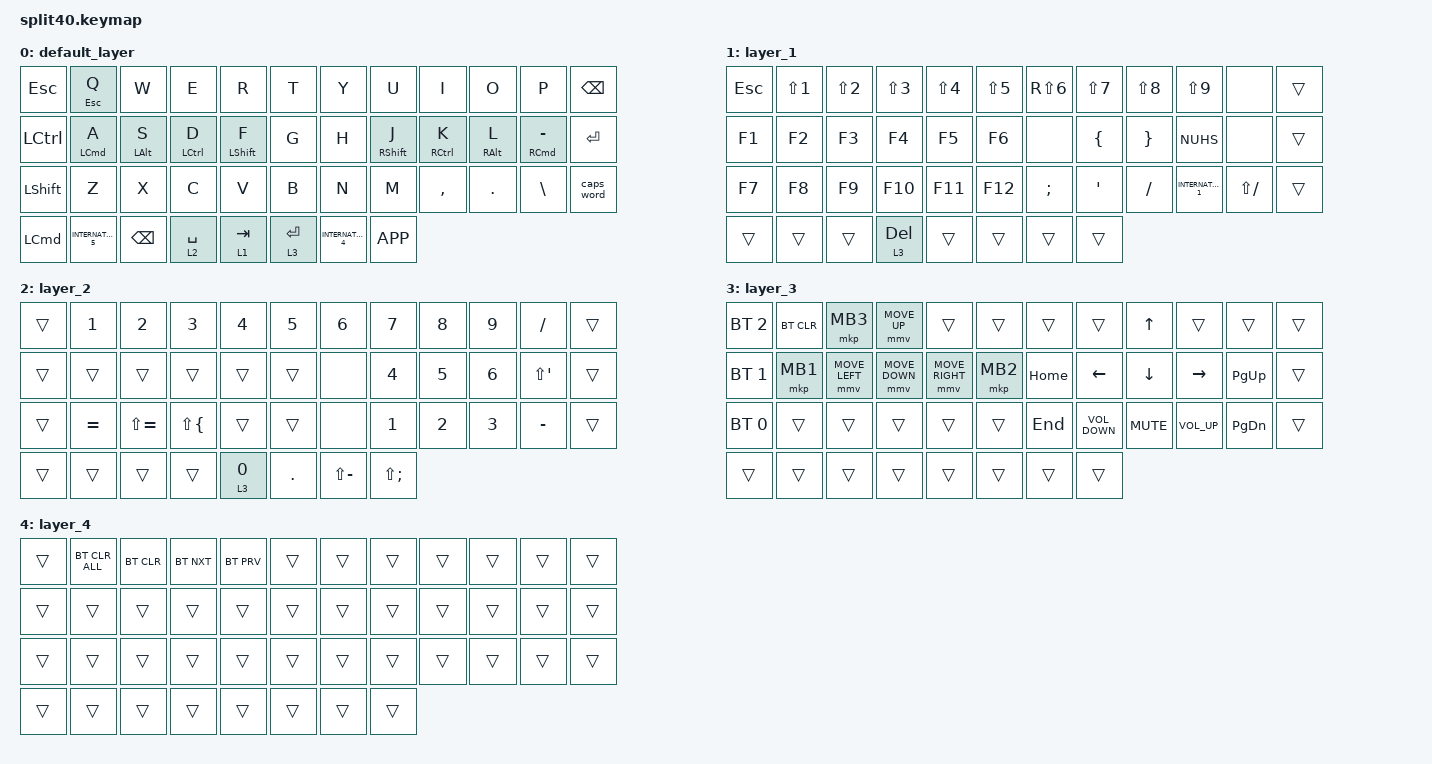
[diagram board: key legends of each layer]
/*
 * Copyright (c) 2022 The ZMK Contributors
 *
 * SPDX-License-Identifier: MIT
 */

#include <behaviors.dtsi>
#include <dt-bindings/zmk/bt.h>
#include <dt-bindings/zmk/keys.h>
#include <dt-bindings/zmk/pointing.h>

/ {
    combos {
        compatible = "zmk,combos";

        fd_combo_mhen {
            bindings = <&kp INTERNATIONAL_5>;
            key-positions = <15 16>;
        };

        jk_combo_henk {
            bindings = <&kp INTERNATIONAL_4>;
            key-positions = <19 20>;
        };
    };

    behaviors {
        hrm_r_1: hrm_r_1 {
            compatible = "zmk,behavior-hold-tap";
            label = "HRM_R_1";
            bindings = <&kp>, <&kp>;

            #binding-cells = <2>;
            tapping-term-ms = <200>;
            flavor = "balanced";
            hold-trigger-key-positions = <1 2 3 4 5 13 14 15 16 17 25 26 27 28 29>;
            hold-trigger-on-release;
            require-prior-idle-ms = <150>;
        };

        hmr_r_2: hmr_r_2 {
            compatible = "zmk,behavior-hold-tap";
            label = "HMR_R_2";
            bindings = <&kp>, <&kp>;

            #binding-cells = <2>;
            tapping-term-ms = <200>;
            flavor = "balanced";
            hold-trigger-key-positions = <1 2 3 4 5 13 14 15 16 17 25 26 27 28 29>;
            require-prior-idle-ms = <150>;
        };

        hmr_l_1: hmr_l_1 {
            compatible = "zmk,behavior-hold-tap";
            label = "HMR_L_1";
            bindings = <&kp>, <&kp>;

            #binding-cells = <2>;
            tapping-term-ms = <200>;
            flavor = "balanced";
            hold-trigger-on-release;
            require-prior-idle-ms = <150>;
            hold-trigger-key-positions = <6 7 8 9 10 18 19 20 21 22 30 31 32 33 34>;
        };

        hmr_l_2: hmr_l_2 {
            compatible = "zmk,behavior-hold-tap";
            label = "HMR_L_2";
            bindings = <&kp>, <&kp>;

            #binding-cells = <2>;
            tapping-term-ms = <200>;
            flavor = "balanced";
            require-prior-idle-ms = <150>;
            hold-trigger-key-positions = <6 7 8 9 10 18 19 20 21 22 30 31 32 33 34>;
        };
    };

    keymap {
        compatible = "zmk,keymap";

        default_layer {
            bindings = <
&kp ESC           &mt ESC Q                &kp W                &kp E                    &kp R                  &kp T        &kp Y                &kp U                   &kp I                     &kp O                 &kp P                         &kp BACKSPACE
&kp LEFT_CONTROL  &hmr_l_2 LEFT_COMMAND A  &hmr_l_1 LEFT_ALT S  &hmr_l_1 LEFT_CONTROL D  &hmr_l_1 LEFT_SHIFT F  &kp G        &kp H                &hrm_r_1 RIGHT_SHIFT J  &hrm_r_1 RIGHT_CONTROL K  &hrm_r_1 RIGHT_ALT L  &hmr_r_2 RIGHT_COMMAND MINUS  &kp RET
&kp LEFT_SHIFT    &kp Z                    &kp X                &kp C                    &kp V                  &kp B        &kp N                &kp M                   &kp COMMA                 &kp PERIOD            &kp BACKSLASH                 &caps_word
&kp LEFT_COMMAND  &kp INTERNATIONAL_5      &kp BACKSPACE        &lt 2 SPACE              &lt 1 TAB              &lt 3 ENTER  &kp INTERNATIONAL_4  &kp K_APP
            >;
        };

        layer_1 {
            bindings = <
&kp ESCAPE  &kp LS(N1)  &kp LS(N2)  &kp LS(N3)    &kp LS(N4)  &kp LS(N5)  &kp RS(N6)     &kp LS(N7)      &kp LS(N8)       &kp LS(N9)           &none          &trans
&kp F1      &kp F2      &kp F3      &kp F4        &kp F5      &kp F6      &none          &kp LEFT_BRACE  &kp RIGHT_BRACE  &kp NUHS             &none          &trans
&kp F7      &kp F8      &kp F9      &kp F10       &kp F11     &kp F12     &kp SEMICOLON  &kp APOS        &kp SLASH        &kp INTERNATIONAL_1  &kp LS(SLASH)  &trans
&trans      &trans      &trans      &lt 3 DELETE  &trans      &trans      &trans         &trans
            >;
        };

        layer_2 {
            bindings = <
&trans  &kp NUMBER_1  &kp NUMBER_2   &kp NUMBER_3        &kp NUMBER_4    &kp NUMBER_5  &kp NUMBER_6   &kp NUMBER_7  &kp NUMBER_8  &kp NUMBER_9  &kp SLASH     &trans
&trans  &trans        &trans         &trans              &trans          &trans        &none          &kp NUMBER_4  &kp NUMBER_5  &kp NUMBER_6  &kp LS(APOS)  &trans
&trans  &kp EQUAL     &kp LS(EQUAL)  &kp LS(LEFT_BRACE)  &trans          &trans        &none          &kp NUMBER_1  &kp NUMBER_2  &kp NUMBER_3  &kp MINUS     &trans
&trans  &trans        &trans         &trans              &lt 3 NUMBER_0  &kp PERIOD    &kp LS(MINUS)  &kp LS(SEMI)
            >;
        };

        layer_3 {
            bindings = <
&bt BT_SEL 2  &bt BT_CLR  &mkp MB3        &mmv MOVE_UP    &trans           &trans    &trans    &trans             &kp UP      &trans           &trans         &trans
&bt BT_SEL 1  &mkp MB1    &mmv MOVE_LEFT  &mmv MOVE_DOWN  &mmv MOVE_RIGHT  &mkp MB2  &kp HOME  &kp LEFT           &kp DOWN    &kp RIGHT        &kp PAGE_UP    &trans
&bt BT_SEL 0  &trans      &trans          &trans          &trans           &trans    &kp END   &kp C_VOLUME_DOWN  &kp C_MUTE  &kp C_VOLUME_UP  &kp PAGE_DOWN  &trans
&trans        &trans      &trans          &trans          &trans           &trans    &trans    &trans
            >;
        };

        layer_4 {
            bindings = <
&trans  &bt BT_CLR_ALL  &bt BT_CLR  &bt BT_NXT  &bt BT_PRV  &trans  &trans  &trans  &trans  &trans  &trans  &trans
&trans  &trans          &trans      &trans      &trans      &trans  &trans  &trans  &trans  &trans  &trans  &trans
&trans  &trans          &trans      &trans      &trans      &trans  &trans  &trans  &trans  &trans  &trans  &trans
&trans  &trans          &trans      &trans      &trans      &trans  &trans  &trans
            >;
        };
    };
};
